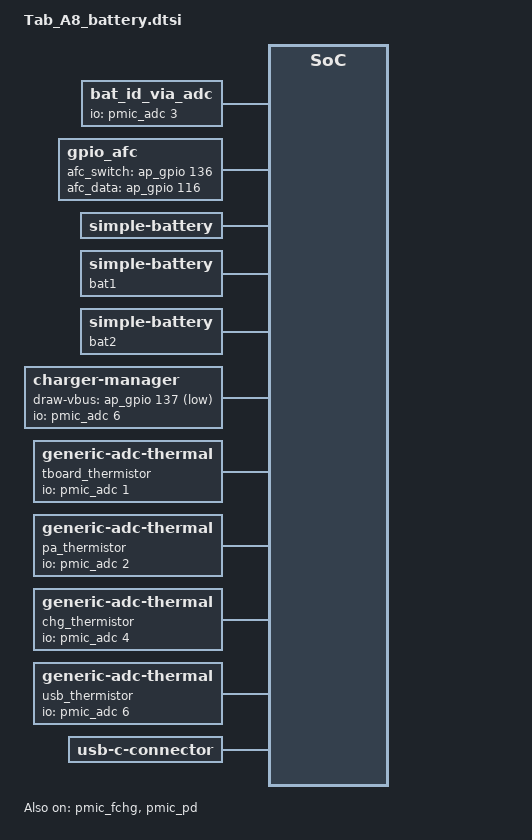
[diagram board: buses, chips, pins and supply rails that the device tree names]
/* battery device */
#include <dt-bindings/usb/pd.h>

/ {
	fragment {
		target-path = "/";
		__overlay__ {
			/* Tab A8 code for AX6300DEV-11 by wenyaqi at 20210730 start */
			bat_id_via_adc: bat_id_via_adc {
				compatible = "bat_id_via_adc";
				io-channels = <&pmic_adc 3>;
				io-channel-names = "customer_bat_id";
			};
			/* Tab A8 code for AX6300DEV-11 by wenyaqi at 20210730 end */

			/* Tab A8 code for SR-AX6300-01-5 by wenyaqi at 20210824 start */
			afc: afc {
				status = "ok";
				compatible = "gpio_afc";

				afc_switch_gpio = <&ap_gpio 136 0>;
				afc_data_gpio = <&ap_gpio 116 0>;
			};
			/* Tab A8 code for SR-AX6300-01-5 by wenyaqi at 20210824 end */

			/* Tab A8 code for AX6300DEV-3523 by zhangyanlong at 20211210 start */
			/* Tab A8 code for SR-AX6300-01-106 by zhangyanlong at 20210903 start */
			/* Tab A8 code for SR-AX6300-01-107 by zhangyanlong at 20210901 start */
			/* Tab A8 code for AX6300DEV-11 by wenyaqi at 20210730 start */
			bat: battery {
				compatible = "simple-battery";
				charge-full-design-microamp-hours = <6804000>;
				charge-term-current-microamp = <64000>;
				constant_charge_voltage_max_microvolt = <4400000>;
				factory-internal-resistance-micro-ohms = <120000>;
				voltage-min-design-microvolt = <3456000>;
				ocv-capacity-celsius = <20>;
				ocv-capacity-table-0 = <4354000 100>, <4293000 95>, <4236000 90>,
							<4180000 85>, <4126000 80>, <4075000 75>,
							<4027000 70>, <3985000 65>, <3942000 60>,
							<3887000 55>, <3854000 50>, <3830000 45>,
							<3811000 40>, <3796000 35>, <3782000 30>,
							<3765000 25>, <3746000 20>, <3722000 15>,
							<3693000 10>, <3681000 5>, <3400000 0>;
				voltage-temp-table = <1092000 800>, <984000 850>, <878000 900>,
							  <776000 950>, <679000 1000>, <591000 1050>,
							  <511000 1100>, <441000 1150>, <379000 1200>,
							  <325000 1250>, <278000 1300>, <238000 1350>,
							  <204000 1400>, <175000 1450>, <150000 1500>,
							  <129000 1550>, <112000 1600>, <97000 1650>,
							  <84000 1700>, <73000 1750>, <63000 1800>,
							  <55000 1850>;
				capacity-temp-table = <45 99>, <25 100>, <10 100>, <0 98>, <(-10) 91>, <(-20) 75>;
				resistance-temp-table = <45 88>, <25 100>, <10 156>, <0 541>, <(-10) 683>, <(-20) 756>;
                                /* Tab A8 code for P210924-07941 by zhaichao at 20210928 start */
				charge-sdp-current-microamp = <540000 500000>;
                                /* Tab A8 code for P210924-07941 by zhaichao at 20210928 end */
				/* Tab A8 code for AX6300DEV-11 by wenyaqi at 20210730 start */
				// charge-dcp-current-microamp = <2000000 3000000>;
				charge-dcp-current-microamp = <2000000 1550000>;
				/* Tab A8 code for AX6300DEV-11 by wenyaqi at 20210730 end */
				charge-cdp-current-microamp = <1150000 1150000>;
				charge-fchg-current-microamp = <2900000 1650000>;
				charge-unknown-current-microamp = <500000 500000>;
				/* Tab A8 code for SR-AX6300-01-5 by wenyaqi at 20210824 start */
				charge-afc-current-microamp = <2900000 1650000>;
				/* Tab A8 code for SR-AX6300-01-5 by wenyaqi at 20210824 end */
			};
			/* Tab A8 code for SR-AX6300-01-107 by zhangyanlong at 20210901 end */

			bat1: battery1 {
				compatible = "simple-battery";
				charge-full-design-microamp-hours = <6785000>;
				charge-term-current-microamp = <64000>;
				constant_charge_voltage_max_microvolt = <4400000>;
				factory-internal-resistance-micro-ohms = <116000>;
				voltage-min-design-microvolt = <3456000>;
				ocv-capacity-celsius = <20>;
				ocv-capacity-table-0 = <4357000 100>, <4297000 95>, <4239000 90>,
							<4182000 85>, <4128000 80>, <4076000 75>,
							<4028000 70>, <3985000 65>, <3944000 60>,
							<3885000 55>, <3854000 50>, <3830000 45>,
							<3811000 40>, <3796000 35>, <3783000 30>,
							<3765000 25>, <3746000 20>, <3722000 15>,
							<3693000 10>, <3680000 5>, <3400000 0>;
				voltage-temp-table = <1109000 800>, <998000 850>, <889000 900>,
							  <784000 950>, <685000 1000>, <595000 1050>,
							  <514000 1100>, <442000 1150>, <379000 1200>,
							  <325000 1250>, <270000 1300>, <238000 1350>,
							  <204000 1400>, <175000 1450>, <151000 1500>,
							  <130000 1550>, <112000 1600>, <97000 1650>,
							  <84000 1700>, <73000 1750>, <64000 1800>,
							  <55000 1850>;
				capacity-temp-table = <45 99>, <25 100>, <10 100>, <0 98>, <(-10) 90>, <(-20) 73>;
				resistance-temp-table = <45 67>, <25 100>, <10 371>, <0 609>, <(-10) 718>, <(-20) 794>;
                                /* Tab A8 code for P210924-07941 by zhaichao at 20210928 start */
				charge-sdp-current-microamp = <540000 500000>;
                                /* Tab A8 code for P210924-07941 by zhaichao at 20210928 end */
				/* Tab A8 code for AX6300DEV-11 by wenyaqi at 20210730 start */
				// charge-dcp-current-microamp = <2000000 3000000>;
				charge-dcp-current-microamp = <2000000 1550000>;
				/* Tab A8 code for AX6300DEV-11 by wenyaqi at 20210730 end */
				charge-cdp-current-microamp = <1150000 1150000>;
				charge-fchg-current-microamp = <2900000 1650000>;
				charge-unknown-current-microamp = <500000 500000>;
				/* Tab A8 code for SR-AX6300-01-5 by wenyaqi at 20210824 start */
				charge-afc-current-microamp = <2900000 1650000>;
				/* Tab A8 code for SR-AX6300-01-5 by wenyaqi at 20210824 end */
			};

			/* Tab A8 code for AX6300DEV-114 by zhangyanlong at 20210901 start */
			bat2: battery2 {
				compatible = "simple-battery";
				charge-full-design-microamp-hours = <6799000>;
				charge-term-current-microamp = <64000>;
				constant_charge_voltage_max_microvolt = <4400000>;
				factory-internal-resistance-micro-ohms = <101000>;
				voltage-min-design-microvolt = <3456000>;
				ocv-capacity-celsius = <20>;
				ocv-capacity-table-0 = <4350000 100>, <4293000 95>, <4236000 90>,
							<4180000 85>, <4126000 80>, <4075000 75>,
							<4027000 70>, <3984000 65>, <3941000 60>,
							<3887000 55>, <3854000 50>, <3830000 45>,
							<3810000 40>, <3795000 35>, <3781000 30>,
							<3762000 25>, <3743000 20>, <3719000 15>,
							<3691000 10>, <3680000 5>, <3400000 0>;
				voltage-temp-table = <1109000 800>, <998000 850>, <889000 900>,
							  <784000 950>, <685000 1000>, <595000 1050>,
							  <514000 1100>, <442000 1150>, <379000 1200>,
							  <325000 1250>, <270000 1300>, <238000 1350>,
							  <204000 1400>, <175000 1450>, <151000 1500>,
							  <130000 1550>, <112000 1600>, <97000 1650>,
							  <84000 1700>, <73000 1750>, <64000 1800>,
							  <55000 1850>;
				capacity-temp-table = <45 99>, <25 100>, <10 100>, <0 99>, <(-10) 92>, <(-20) 80>;
				resistance-temp-table = <45 87>, <25 100>, <10 249>, <0 857>, <(-10) 1184>, <(-20) 1311>;
                                /* Tab A8 code for P210924-07941 by zhaichao at 20210928 start */
				charge-sdp-current-microamp = <540000 500000>;
                                /* Tab A8 code for P210924-07941 by zhaichao at 20210928 end */
				/* Tab A8 code for AX6300DEV-11 by wenyaqi at 20210730 start */
				// charge-dcp-current-microamp = <2000000 3000000>;
				charge-dcp-current-microamp = <2000000 1550000>;
				/* Tab A8 code for AX6300DEV-11 by wenyaqi at 20210730 end */
				charge-cdp-current-microamp = <1150000 1150000>;
				charge-fchg-current-microamp = <2900000 1650000>;
				charge-unknown-current-microamp = <500000 500000>;
				/* Tab A8 code for SR-AX6300-01-5 by wenyaqi at 20210824 start */
				charge-afc-current-microamp = <2900000 1650000>;
				/* Tab A8 code for SR-AX6300-01-5 by wenyaqi at 20210824 end */
			};
			/* Tab A8 code for AX6300DEV-114 by zhangyanlong at 20210901 end */
			/* Tab A8 code for SR-AX6300-01-106 by zhangyanlong at 20210903 end */
			/* Tab A8 code for AX6300DEV-3523 by zhangyanlong at 20211210 end */

			charger-manager {
				compatible = "charger-manager";
				cm-name = "battery";
				cm-poll-mode = <2>;
				cm-poll-interval = <15000>;
				cm-battery-stat = <2>;

				/* Tab A8 code for SR-AX6300-01-4 by zhangyanlong at 20210820 start */
				draw-vbus-gpio = <&ap_gpio 137 GPIO_ACTIVE_LOW>;
				io-channels = <&pmic_adc 6>;
				io-channel-names = "customer_usb_ntc";
				/* Tab A8 code for SR-AX6300-01-4 by zhangyanlong at 20210820 end */
        			cm-fast-chargers = "sc2730_fast_charger";
                		/* Tab A8 code for AX6300DEV-2187 by lina at 20211028 start */
                		cm-fast-charge-voltage-max = <10500000>;
                		/* Tab A8 code for AX6300DEV-2187 by lina at 20211028 end */
        			cm-fast-charge-voltage-drop = <700000>;
				cm-fullbatt-vchkdrop-ms = <30000>;
				/* Tab A8 code for SR-AX6300-01-176 by qiaodan at 20210816 start */
				/* Tab A8 code for AX6300DEV-1426 by zhaichao at 20211014 start */
				cm-fullbatt-vchkdrop-volt = <55000>;
				/* Tab A8 code for AX6300DEV-1426 by zhaichao at 20211014 end */
				/* Tab A8 code for SR-AX6300-01-142 by qiaodan at 20210903 start */
				cm-fullbatt-voltage = <4375000>;
				/* Tab A8 code for SR-AX6300-01-142 by qiaodan at 20210903 end */
				/* Tab A8 code for AX6300DEV-396 by wenyaqi at 20210917 start */
				cm-first-fullbatt-current = <350000>;
				cm-fullbatt-current = <250000>;
				/* Tab A8 code for AX6300DEV-396 by wenyaqi at 20210917 end */
				/* Tab A8 code for SR-AX6300-01-176 by qiaodan at 20210816 end */
				cm-fullbatt-capacity = <100>;

				/* Tab A8 code for AX6300DEV-11 by wenyaqi at 20210730 start */
				cm-num-power-supplys = <3>;    // numbers of Charger IC
				/* Tab A8 code for AX6300DEV-11 by wenyaqi at 20210730 end */
				cm-chargers = "fan54015_charger";
				/* Tab A8 code for SR-AX6300-01-102 by wenyaqi at 20210808 start */
				cm-power-supplys = "bq25890_charger", "sgm4154x_charger", "sy6970_charger";
				// cm-power-supplys = "fan54015_charger", "sgm4154x_charger", "sy6970_charger";
				/* Tab A8 code for SR-AX6300-01-102 by wenyaqi at 20210808 end */
				cm-fuel-gauge = "sc27xx-fgu";

				/* in deci centigrade */
				/* Tab A8 code for AX6300DEV-11 by wenyaqi at 20210730 start */
				// cm-battery-cold = <200>;
				cm-battery-cold = <0>;
				cm-battery-cold-in-minus;
				// cm-battery-hot = <800>;
				cm-battery-hot = <500>;
				// cm-battery-temp-diff = <100>;
				cm-battery-temp-diff = <30>;
				/* Tab A8 code for AX6300DEV-11 by wenyaqi at 20210730 start */

				/* Allow charging for 6hr */
				cm-charging-max = <21600000>;
				/* recovery charging after stop charging 45min */
				cm-discharging-max = <2700000>;

				/* the interval to feed charger watchdog */
				cm-wdt-interval = <60>;

				/* drop voltage in microVolts to allow shutdown */
				cm-shutdown-voltage = <3100000>;

				/* when 99% of the time is exceeded, it will be forced to 100% */
				cm-tickle-time-out = <1500>;

				/* how much time to allow capacity change */
				cm-one-cap-time = <30>;
				/* Tab A8 code for SR-AX6300-01-102 by wenyaqi at 20210808 start */
				// cm-thermal-zone = "board-thmzone";
				/* Tab A8 code for SR-AX6300-01-102 by wenyaqi at 20210808 end */
				/* when the safe charging voltage is exceeded, stop charging */
				cm-charge-voltage-max = <6500000>;
				/* drop voltage in microVolts to restart charging */
				cm-charge-voltage-drop = <700000>;
				/* Tab A8 code for SR-AX6300-01-5 by wenyaqi at 20210824 start */
				/* when the safe charging voltage is exceeded, stop charging */
				/* Tab A8 code for AX6300DEV-2187 by lina at 20211028 start */
				cm-afc-charge-voltage-max = <10000000>;
				/* Tab A8 code for AX6300DEV-2187 by lina at 20211028 end */
				/* drop voltage in microVolts to restart charging */
				cm-afc-charge-voltage-drop = <700000>;
				/* Tab A8 code for SR-AX6300-01-5 by wenyaqi at 20210824 end */
				/* Tab A8 code for SR-AX6300-01-176 by qiaodan at 20210816 start */
				/* Tab A8 code for AX6300DEV-3574 by zhaichao at 20211209 start */
				cm-dcp-jeita-temp-table = <1000 1030 0 4200000>, <1050 1080 540000 4208000>,
					<1120 1150 1500000 4400000>, <1450 1420 2000000 4400000>, <1500 1470 2000000 4208000>;
				cm-dcp-jeita-temp-table-1 = <1000 1030 0 4200000>, <1050 1080 540000 4208000>,
					<1120 1150 1500000 4400000>, <1450 1420 2000000 4400000>, <1500 1470 2000000 4208000>;
				cm-dcp-jeita-temp-table-2 = <1000 1030 0 4200000>, <1050 1080 540000 4208000>,
					<1120 1150 1500000 4400000>, <1450 1420 2000000 4400000>, <1500 1470 2000000 4208000>;
				cm-sdp-jeita-temp-table = <1000 1030 0 4200000>, <1050 1080 540000 4208000>,
					<1120 1150 540000 4400000>, <1450 1420 540000 4400000>, <1500 1470 540000 4208000>;
				cm-sdp-jeita-temp-table-1 = <1000 1030 0 4200000>, <1050 1080 540000 4208000>,
					<1120 1150 540000 4400000>, <1450 1420 540000 4400000>, <1500 1470 540000 4208000>;
				cm-sdp-jeita-temp-table-2 = <1000 1030 0 4200000>, <1050 1080 540000 4208000>,
					<1120 1150 540000 4400000>, <1450 1420 540000 4400000>, <1500 1470 540000 4208000>;
				cm-cdp-jeita-temp-table = <1000 1030 0 4200000>, <1050 1080 540000 4208000>,
					<1120 1150 1500000 4400000>, <1450 1420 1500000 4400000>, <1500 1470 1500000 4208000>;
				cm-cdp-jeita-temp-table-1 = <1000 1030 0 4200000>, <1050 1080 540000 4208000>,
					<1120 1150 1500000 4400000>, <1450 1420 1500000 4400000>, <1500 1470 1500000 4208000>;
				cm-cdp-jeita-temp-table-2= <1000 1030 0 4200000>, <1050 1080 540000 4208000>,
					<1120 1150 1500000 4400000>, <1450 1420 1500000 4400000>, <1500 1470 1500000 4208000>;
				cm-unknown-jeita-temp-table = <1000 1030 0 4200000>, <1050 1080 540000 4208000>,
					<1120 1150 540000 4400000>, <1450 1420 540000 4400000>, <1500 1470 540000 4208000>;
				cm-unknown-jeita-temp-table-1 = <1000 1030 0 4200000>, <1050 1080 540000 4208000>,
					<1120 1150 540000 4400000>, <1450 1420 540000 4400000>, <1500 1470 540000 4208000>;
				cm-unknown-jeita-temp-table-2 = <1000 1030 0 4200000>, <1050 1080 540000 4208000>,
					<1120 1150 540000 4400000>, <1450 1420 540000 4400000>, <1500 1470 540000 4208000>;
				cm-fchg-jeita-temp-table = <1000 1030 0 4200000>, <1050 1080 540000 4208000>,
					<1120 1150 1500000 4400000>, <1450 1420 2900000 4400000>, <1500 1470 2900000 4208000>;
				cm-fchg-jeita-temp-table-1 = <1000 1030 0 4200000>, <1050 1080 540000 4208000>,
					<1120 1150 1500000 4400000>, <1450 1420 2900000 4400000>, <1500 1470 2900000 4208000>;
				cm-fchg-jeita-temp-table-2 = <1000 1030 0 4200000>, <1050 1080 540000 4208000>,
					<1120 1150 1500000 4400000>, <1450 1420 2900000 4400000>, <1500 1470 2900000 4208000>;
				cm-flash-jeita-temp-table = <1000 1030 0 4200000>, <1050 1080 540000 4208000>,
					<1120 1150 1500000 4400000>, <1450 1420 2000000 4400000>, <1500 1470 2000000 4208000>;
				cm-flash-jeita-temp-table-1 = <1000 1030 0 4200000>, <1050 1080 540000 4208000>,
					<1120 1150 1500000 4400000>, <1450 1420 2000000 4400000>, <1500 1470 2000000 4208000>;
				cm-flash-jeita-temp-table-2 = <1000 1030 0 4200000>, <1050 1080 540000 4208000>,
					<1120 1150 1500000 4400000>, <1450 1420 2000000 4400000>, <1500 1470 2000000 4208000>;
				cm-wl-bpp-jeita-temp-table = <1000 1030 0 4200000>, <1050 1080 540000 4208000>,
					<1120 1150 1000000 4400000>, <1450 1420 1000000 4400000>, <1500 1470 1000000 4208000>;
				cm-wl-bpp-jeita-temp-table-1 = <1000 1030 0 4200000>, <1050 1080 540000 4208000>,
					<1120 1150 1000000 4400000>, <1450 1420 1000000 4400000>, <1500 1470 1000000 4208000>;
				cm-wl-bpp-jeita-temp-table-2 = <1000 1030 0 4200000>, <1050 1080 540000 4208000>,
					<1120 1150 1000000 4400000>, <1450 1420 1000000 4400000>, <1500 1470 1000000 4208000>;
				cm-wl-epp-jeita-temp-table = <1000 1030 0 4200000>, <1050 1080 540000 4208000>,
					<1120 1150 1500000 4400000>, <1450 1420 2000000 4400000>, <1500 1470 2000000 4208000>;
				cm-wl-epp-jeita-temp-table-1 = <1000 1030 0 4200000>, <1050 1080 540000 4208000>,
					<1120 1150 1500000 4400000>, <1450 1420 2000000 4400000>, <1500 1470 2000000 4208000>;
				cm-wl-epp-jeita-temp-table-2 = <1000 1030 0 4200000>, <1050 1080 540000 4208000>,
					<1120 1150 1500000 4400000>, <1450 1420 2000000 4400000>, <1500 1470 2000000 4208000>;
				/* Tab A8 code for SR-AX6300-01-176 by qiaodan at 20210816 end */
				/* Tab A8 code for SR-AX6300-01-5 by wenyaqi at 20210824 start */
				cm-afc-jeita-temp-table = <1000 1030 0 4200000>, <1050 1080 540000 4208000>,
					<1120 1150 1500000 4400000>, <1450 1420 2900000 4400000>, <1500 1470 2900000 4208000>;
				cm-afc-jeita-temp-table-1 = <1000 1030 0 4200000>, <1050 1080 540000 4208000>,
					<1120 1150 1500000 4400000>, <1450 1420 2900000 4400000>, <1500 1470 2900000 4208000>;
				cm-afc-jeita-temp-table-2 = <1000 1030 0 4200000>, <1050 1080 540000 4208000>,
					<1120 1150 1500000 4400000>, <1450 1420 2900000 4400000>, <1500 1470 2900000 4208000>;
				/* Tab A8 code for AX6300DEV-3574 by zhaichao at 20211209 end */
				/* Tab A8 code for SR-AX6300-01-5 by wenyaqi at 20210824 end */

				/* Tab A8 code for AX6300DEV-11 by wenyaqi at 20210730 start */
				// monitored-battery = <&bat>;
				monitored-battery = <&bat &bat1 &bat2>; // bat-ATL bat1-SCUD
				/* Tab A8 code for AX6300DEV-11 by wenyaqi at 20210730 end */
				/* Tab A8 code for SR-AX6300-01-142 by qiaodan at 20210901 start */
				ss-batt-aging-enable;
				ss-cv-ranges = <0 299 4400000
						300 399 4368000
						400 699 4352000
						700 999 4304000
						1000 9999 4272000>;
				/* Tab A8 code for SR-AX6300-01-142 by qiaodan at 20210901 end */

				cm-cap-remap-table = <1 2 3>, <2 3 2>, <98 99 2>, <99 100 3>;

				regulator@0 {
					cm-regulator-name = "vddgen0";
					cable@0 {
						cm-cable-name = "USB";
						extcon = <&pmic_typec>;
					};
				};

				/* Tab A8 code for AX6300DEV-11 by wenyaqi at 20210730 start */
				vddvbus: cm_otg_vbus {
					regulator-name = "vddvbus";
				};
				/* Tab A8 code for AX6300DEV-11 by wenyaqi at 20210730 end */
			};

			tboard_thermistor:thermal-sensor {
				compatible = "generic-adc-thermal";
				#thermal-sensor-cells = <0>;
				io-channels = <&pmic_adc 1>;
				io-channel-names = "sensor-channel";
				temperature-lookup-table = <    (-39742) 1131
								(-29777) 1110
								(-19480) 1074
								(-4679) 983
								10110 838
								24805 654
								44922 413
								54903 316
								64895 238
								74884 178
								84883 133
								94883 100
								104880 75
								114889 57
								124872 43 >;
			};

			/* Tab A8 code for SR-AX6300-01-109 by zhangyanlong at 20210810 start */
			pa_thermistor:pa-sensor {
				compatible = "generic-adc-thermal";
				#thermal-sensor-cells = <0>;
				io-channels = <&pmic_adc 2>;
				io-channel-names = "sensor-channel";
				temperature-lookup-table = <    (-39742) 1131
								(-29777) 1110
								(-19480) 1074
								(-4679) 983
								10110 838
								24805 654
								44922 413
								54903 316
								64895 238
								74884 178
								84883 133
								94883 100
								104880 75
								114889 57
								124872 43 >;
			};

			chg_thermistor:chg-sensor {
				compatible = "generic-adc-thermal";
				#thermal-sensor-cells = <0>;
				io-channels = <&pmic_adc 4>;
				io-channel-names = "sensor-channel";
				temperature-lookup-table = <    (-39742) 1131
								(-29777) 1110
								(-19480) 1074
								(-4679) 983
								10110 838
								24805 654
								44922 413
								54903 316
								64895 238
								74884 178
								84883 133
								94883 100
								104880 75
								114889 57
								124872 43 >;
			};

			usb_thermistor:usb-sensor {
				compatible = "generic-adc-thermal";
				#thermal-sensor-cells = <0>;
				io-channels = <&pmic_adc 6>;
				io-channel-names = "sensor-channel";
				temperature-lookup-table = <    (-39742) 1131
								(-29777) 1110
								(-19480) 1074
								(-4679) 983
								10110 838
								24805 654
								44922 413
								54903 316
								64895 238
								74884 178
								84883 133
								94883 100
								104880 75
								114889 57
								124872 43 >;
			};
			/* Tab A8 code for SR-AX6300-01-109 by zhangyanlong at 20210810 end */
		};
	};
};

/* Tab A8 code for SR-AX6300-01-6 by qiaodan at 20210812 start */
&pmic_fchg {
	sprd,input-voltage-microvolt = <5000000>;
	/* Tab A8 code for AX6300TDEV-558 by lina at 20230128 start */
	sprd,pd-fixed-max-microwatt = <15000000>;
	/* Tab A8 code for AX6300TDEV-558 by lina at 20230128 end */
	phys = <&hsphy>;
	status =  "okay";
};

&pmic_pd {
	status = "okay";
	/* Tab A8 code for AX6300DEV-2368 by qiaodan at 20211028 start */
	vbus-supply = <&vddvbus>;
	/* Tab A8 code for AX6300DEV-2368 by qiaodan at 20211028 end */
	usb_con: connector {
		compatible = "usb-c-connector";
		label = "USB-C";
		data-role = "dual";
		power-role = "dual";
		try-power-role = "sink";
		/* Tab A8_s code(Unisoc Patch 1910379) for P220616-02938 by wenyaqi at 20220620 start */
		source-pdos = <PDO_FIXED(5000, 400, PDO_FIXED_USB_COMM | PDO_FIXED_DUAL_ROLE)>;
		/* Tab A8_s code(Unisoc Patch 1910379) for P220616-02938 by wenyaqi at 20220620 end */
		sink-pdos = <PDO_FIXED(5000, 2000, PDO_FIXED_USB_COMM)>;
		op-sink-microwatt = <10000000>;
	};
};
/* Tab A8 code for SR-AX6300-01-6 by qiaodan at 20210812 end */

/* Tab A8 code for AX6300DEV-428 by wenyaqi at 20210918 start */
&hsphy {
	sprd,tfregres-tune-value = <0x06b49cc0>;
};
/* Tab A8 code for AX6300DEV-428 by wenyaqi at 20210918 end */

/* Tab A8 code for AX6300DEV-1413 by wenyaqi at 20211020 start */
&pmic_fgu {
	sprd,comp-resistance-mohm = <26>;
	sprd,comp-resistance-mohm1 = <12>;
	sprd,comp-resistance-mohm2 = <16>;
};
/* Tab A8 code for AX6300DEV-1413 by wenyaqi at 20211020 end */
